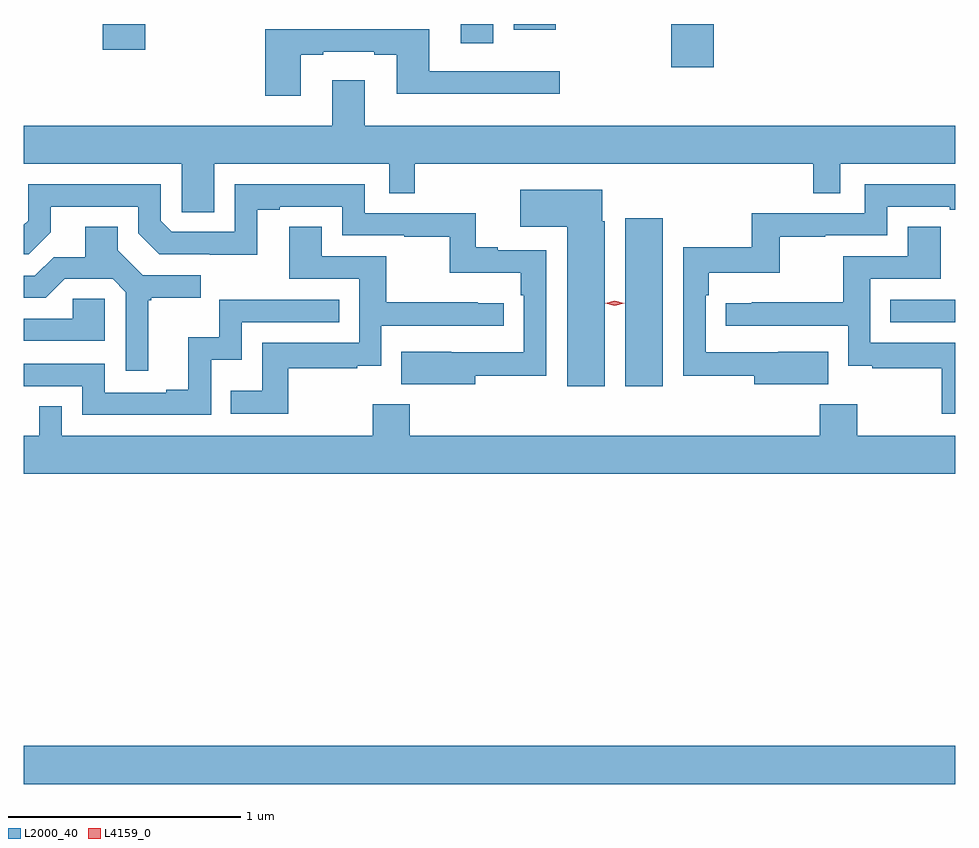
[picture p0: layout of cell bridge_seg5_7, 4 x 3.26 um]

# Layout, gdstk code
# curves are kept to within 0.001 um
import gdstk
lib = gdstk.Library(unit=1e-6, precision=1e-09)
def R(c, l, rs):  # rectangles x0, y0, x1, y1
    for r in rs: c.add(gdstk.rectangle(r[:2], r[2:], *l))
def P(c, l, *ps):  # polygons
    for p in ps: c.add(gdstk.Polygon(p, *l))
L2000_40 = (2000, 40)
L4159_0 = (4159, 0)

bridge_seg5_7 = lib.new_cell('bridge_seg5_7')
R(bridge_seg5_7, L2000_40, [(910.026,868.748,914.026,868.912), (912.608,870.456,912.769,871.177), (913.747,870.732,914.026,870.828), (912.806,871.827,912.989,872.012), (910.364,871.902,910.547,872.012), (911.903,871.929,912.043,872.012), (912.131,871.988,912.31,872.012)])
P(bridge_seg5_7, L2000_40, [(911.215,871.881),(911.311,871.881),(911.311,871.893),(911.531,871.893),(911.531,871.881),(911.627,871.881),(911.627,871.712),(912.328,871.712),(912.328,871.809),(911.767,871.809),(911.767,871.99),(911.063,871.99),(911.063,871.704),(911.215,871.704)],
  [(910.843,871.412),(911.595,871.412),(911.595,871.285),(911.704,871.285),(911.704,871.412),(913.417,871.412),(913.417,871.285),(913.533,871.285),(913.533,871.412),(914.026,871.412),(914.026,871.576),(911.491,871.576),(911.491,871.771),(911.351,871.771),(911.351,871.576),(910.026,871.576),(910.026,871.412),(910.704,871.412),(910.704,871.204),(910.843,871.204)],
  [(911.965,870.502),(912.27,870.502),(912.27,871.041),(912.061,871.041),(912.061,871.054),(911.966,871.054),(911.966,871.2),(911.49,871.2),(911.49,871.323),(910.932,871.323),(910.932,871.119),(910.662,871.119),(910.614,871.167),(910.614,871.323),(910.044,871.323),(910.044,871.167),(910.026,871.149),(910.026,871.023),(910.047,871.023),(910.141,871.117),(910.141,871.227),(910.518,871.227),(910.518,871.113),(910.608,871.023),(911.029,871.022),(911.029,871.215),(911.125,871.215),(911.125,871.227),(911.394,871.227),(911.394,871.104),(911.659,871.104),(911.659,871.099),(911.856,871.099),(911.856,870.944),(912.161,870.944),(912.161,870.848),(912.174,870.848),(912.174,870.603),(911.647,870.604),(911.647,870.464),(911.965,870.464)],
  [(913.481,870.604),(913.267,870.604),(913.267,870.603),(912.954,870.603),(912.954,870.848),(912.968,870.848),(912.968,870.944),(913.273,870.944),(913.273,871.099),(913.469,871.099),(913.469,871.104),(913.734,871.104),(913.734,871.227),(914.003,871.227),(914.003,871.215),(914.026,871.215),(914.026,871.323),(913.638,871.323),(913.638,871.2),(913.152,871.2),(913.152,871.054),(912.858,871.054),(912.858,870.502),(913.163,870.502),(913.163,870.464),(913.481,870.464)],
  [(912.52,871.164),(912.511,871.164),(912.511,871.3),(912.159,871.3),(912.159,871.142),(912.359,871.142),(912.359,870.456),(912.52,870.456)],
  [(911.161,870.534),(911.459,870.534),(911.459,870.545),(911.562,870.545),(911.562,870.717),(912.088,870.717),(912.088,870.813),(911.975,870.813),(911.975,870.818),(911.582,870.818),(911.582,871.014),(911.305,871.014),(911.305,871.142),(911.165,871.142),(911.165,870.918),(911.466,870.918),(911.466,870.642),(911.05,870.642),(911.05,870.436),(910.915,870.436),(910.915,870.339),(911.161,870.339)],
  [(914.026,870.642),(913.662,870.642),(913.662,870.918),(913.963,870.918),(913.963,871.142),(913.823,871.142),(913.823,871.014),(913.546,871.014),(913.546,870.818),(913.153,870.818),(913.153,870.813),(913.041,870.813),(913.041,870.717),(913.566,870.717),(913.566,870.545),(913.669,870.545),(913.669,870.534),(913.968,870.534),(913.968,870.339),(914.026,870.339)],
  [(910.561,870.825),(910.573,870.825),(910.573,870.836),(910.786,870.836),(910.786,870.933),(910.536,870.933),(910.429,871.04),(910.429,871.142),(910.289,871.142),(910.289,871.01),(910.154,871.01),(910.074,870.93),(910.026,870.93),(910.026,870.837),(910.12,870.837),(910.201,870.918),(910.407,870.918),(910.464,870.861),(910.464,870.522),(910.561,870.522)],
  [(910.374,870.831),(910.237,870.831),(910.237,870.747),(910.026,870.747),(910.026,870.651),(910.374,870.651)],
  [(910.83,870.569),(910.962,870.569),(910.962,870.732),(911.381,870.732),(911.381,870.828),(910.866,870.828),(910.866,870.667),(910.733,870.667),(910.733,870.442),(910.637,870.442),(910.637,870.429),(910.374,870.429),(910.374,870.552),(910.026,870.552),(910.026,870.456),(910.278,870.456),(910.278,870.333),(910.83,870.333)],
  [(914.026,870.244),(913.605,870.244),(913.605,870.379),(913.445,870.379),(913.445,870.244),(911.684,870.244),(911.684,870.379),(911.524,870.379),(911.524,870.244),(910.188,870.244),(910.188,870.371),(910.092,870.371),(910.092,870.244),(910.026,870.244),(910.026,870.08),(914.026,870.08)])
P(bridge_seg5_7, L4159_0, [(912.564,870.803),(912.524,870.812),(912.524,870.813),(912.524,870.813),(912.564,870.823),(912.604,870.813),(912.604,870.813),(912.604,870.813)])

lib.write_gds('bridge_seg5_7.gds')
